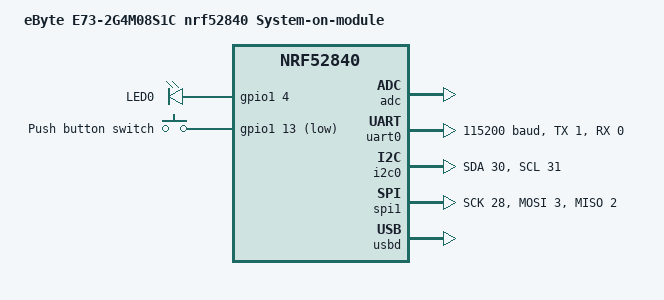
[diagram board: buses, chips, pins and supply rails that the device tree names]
/*
 * Copyright (c) 2020 Tobias Svehagen
 *
 * SPDX-License-Identifier: Apache-2.0
 */

/dts-v1/;
#include <nordic/nrf52840_qiaa.dtsi>
// #include "ebyte_e73.dtsi"

/ {
	model = "eByte E73-2G4M08S1C nrf52840 System-on-module";

	chosen {
		zephyr,console = &uart0;
		zephyr,shell-uart = &uart0;
		zephyr,uart-mcumgr = &uart0;
		zephyr,bt-mon-uart = &uart0;
		zephyr,bt-c2h-uart = &uart0;
		zephyr,sram = &sram0;
		zephyr,flash = &flash0;
		zephyr,code-partition = &slot0_partition;
	};

	leds {
		compatible = "gpio-leds";
		led0: led_0 {
			gpios = <&gpio1 4 0>;
			label = "LED0";
		};
	};

	buttons {
		compatible = "gpio-keys";
		button0: button_0 {
			gpios = <&gpio1 13 (GPIO_PULL_UP | GPIO_ACTIVE_LOW)>;
			label = "Push button switch";
		};
	};

	/* These aliases are provided for compatibility with samples */
	aliases {
		led0 = &led0;
		sw0 = &button0;
	};
};

&adc {
	status = "okay";
};

&gpiote {
	status = "okay";
};

&gpio0 {
	status = "okay";
};

&gpio1 {
	status = "okay";
};

&uart0 {
	compatible = "nordic,nrf-uart";
	current-speed = <115200>;
	status = "okay";
	tx-pin = <1>;
	rx-pin = <0>;
};

&i2c0 {
	compatible = "nordic,nrf-twim";
	status = "okay";
	sda-pin = <30>;
	scl-pin = <31>;

/*
	lis2dh12: lis2dh12@18 {
		compatible = "st,lis2dh12", "st,lis2dh";
		reg = <0x18>;
		//irq-gpios = <&gpio0 12 GPIO_ACTIVE_HIGH>;
		label = "LIS2DH12-ACCEL";
	};
        lis3dh@18 {
                compatible = "st,lis3dh";
                reg = <0x18>;
                label = "LIS3DH";
        };
*/
};

&spi1 {
	status = "okay";
	sck-pin = <28>;
	mosi-pin = <3>;
	miso-pin = <2>;
};

&flash0 {
	/*
	 * For more information, see:
	 * http://docs.zephyrproject.org/latest/guides/dts/index.html#flash-partitions
	 */
	partitions {
		compatible = "fixed-partitions";
		#address-cells = <1>;
		#size-cells = <1>;

		boot_partition: partition@0 {
			label = "mcuboot";
			reg = <0x000000000 0x0000C000>;
		};
		slot0_partition: partition@c000 {
			label = "image-0";
			reg = <0x0000C000 0x00067000>;
		};
		slot1_partition: partition@73000 {
			label = "image-1";
			reg = <0x00073000 0x00067000>;
		};
		scratch_partition: partition@da000 {
			label = "image-scratch";
			reg = <0x000da000 0x0001e000>;
		};

		/*
		 * The flash starting at 0x000f8000 and ending at
		 * 0x000fffff is reserved for use by the application.
		 */

		/* Storage partition will be used by FCB/NFFS/NVS if enabled. */
		storage_partition: partition@f8000 {
			label = "storage";
			reg = <0x000f8000 0x00008000>;
		};
	};
};

&usbd {
	compatible = "nordic,nrf-usbd";
	status = "okay";
};
